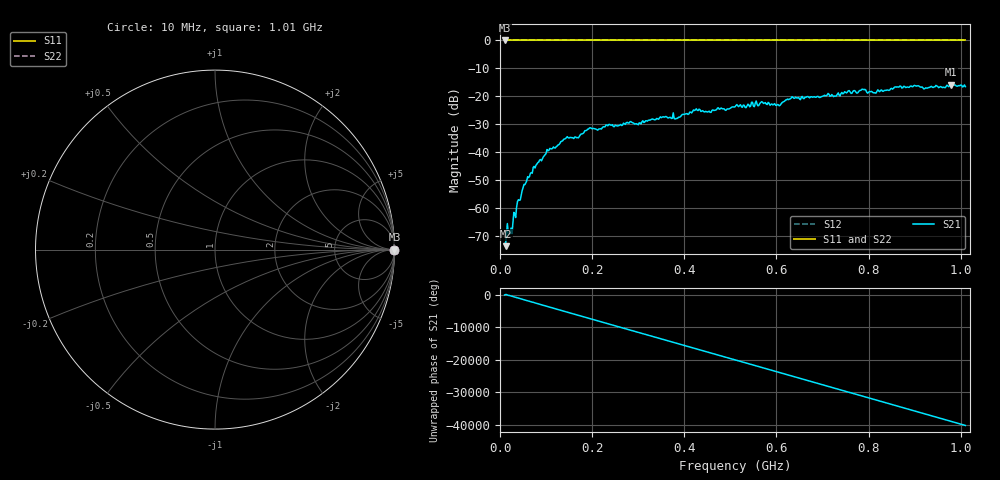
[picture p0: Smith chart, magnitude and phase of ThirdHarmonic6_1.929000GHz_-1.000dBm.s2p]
! 8/16/2025 11:15:13 PM
! C:\ANRITSUVNA\TEMP\TEMP.S2P
! CHANNEL.1
! TR.MEASUREMENT
! RAW.DATA
! RF.CORRECTION.OFF
! AVERAGING.OFF
! IF.BANDWIDTH: 5KHZ
! SWEEPTYPE:  FREQ.SWEEP(Linear)
! Reference Plane Port Info
! PORT:  PORT1  PORT2
! DISTANCE:  0  m  0  m
! TIME:  0  s  0  s
! PHASE.OFFSET:  0  deg.  0  deg.
! LOSS:  0  dB  0  dB
! REF.LOSS:  0  dB  0  dB
! REF.FREQ:  0  Hz  0  Hz
! Power Info
! POWER:  -20  dBm  -20  dBm
! EFF.POWER:  -20  dBm  -20  dBm
! SOURCE.ATTEN:  0  dB  0  dB
! TEST.ATTEN:  0  dB  0  dB
# GHZ S RI R 50.0
! FREQ.GHZ  S11RE  S11IM  S21RE  S21IM  S12RE  S12IM  S22RE  S22IM
!; PortSelection: Port_12
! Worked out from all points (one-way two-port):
!   501 points, 10 MHz to 1.01 GHz, reference 50 ohm
!   highest |S21| = -15.84 dB at 978 MHz (marker M1); lowest = -73.8 dB at 12 MHz (marker M2)
!   lowest |S11| = 0.0 dB at 10 MHz (marker M3)
!   |S11| at or under -10 dB: nowhere
!   |S22| runs from 0.0 to 0.0 dB; largest |S21 - S12| = 1.2
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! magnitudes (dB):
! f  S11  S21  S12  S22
! 10 MHz  0.0  -72.9  0.0  0.0
! 12 MHz  0.0  -73.8  0.0  0.0
! 24 MHz  0.0  -67.3  0.0  0.0
! 34 MHz  0.0  -63.5  0.0  0.0
! 52 MHz  0.0  -51.7  0.0  0.0
! 76 MHz  0.0  -45.7  0.0  0.0
! 106 MHz  0.0  -39.4  0.0  0.0
! 142 MHz  0.0  -35.2  0.0  0.0
! 178 MHz  0.0  -33.5  0.0  0.0
! 194 MHz  0.0  -31.4  0.0  0.0
! 344 MHz  0.0  -28.3  0.0  0.0
! 382 MHz  0.0  -28.0  0.0  0.0
! 424 MHz  0.0  -24.9  0.0  0.0
! 454 MHz  0.0  -25.4  0.0  0.0
! 510 MHz  0.0  -23.8  0.0  0.0
! 570 MHz  0.0  -22.2  0.0  0.0
! 604 MHz  0.0  -23.1  0.0  0.0
! 632 MHz  0.0  -20.6  0.0  0.0
! 678 MHz  0.0  -20.4  0.0  0.0
! 844 MHz  0.0  -17.9  0.0  0.0
! 978 MHz  0.0  -15.8  0.0  0.0
! 1.01 GHz  0.0  -16.6  0.0  0.0
